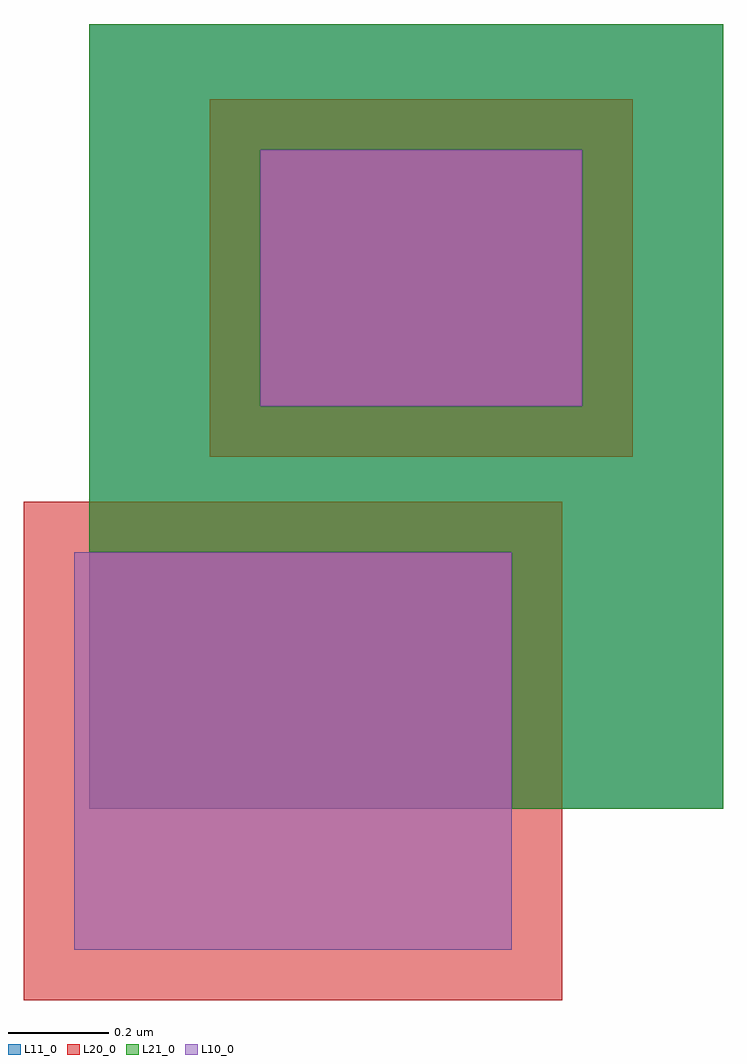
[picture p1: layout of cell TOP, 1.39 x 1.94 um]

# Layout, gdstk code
import gdstk
lib = gdstk.Library(unit=1e-6, precision=1e-09)
def R(c, l, rs):  # rectangles x0, y0, x1, y1
    for r in rs: c.add(gdstk.rectangle(r[:2], r[2:], *l))
def P(c, l, *ps):  # polygons
    for p in ps: c.add(gdstk.Polygon(p, *l))
L10_0 = (10, 0)
L11_0 = (11, 0)
L20_0 = (20, 0)
L21_0 = (21, 0)

top = lib.new_cell('TOP')
R(top, L10_0, [(0.19,0.2,1.06,0.99), (0.56,1.28,1.2,1.79)])
R(top, L11_0, [(0.22,0.48,1.48,2.04)])
R(top, L20_0, [(0.09,0.1,1.16,1.09), (0.46,1.18,1.3,1.89)])
P(top, L21_0, [(1.06,0.48),(1.06,0.99),(0.22,0.99),(0.22,1.79),(0.56,1.79),(0.56,1.28),(1.2,1.28),(1.2,1.79),(0.22,1.79),(0.22,2.04),(1.48,2.04),(1.48,0.48)])

lib.write_gds('TOP.gds')
